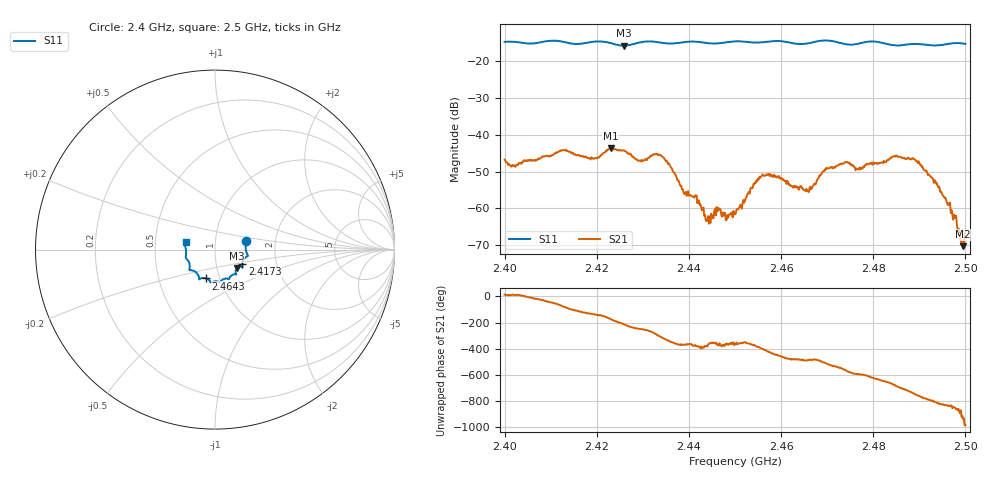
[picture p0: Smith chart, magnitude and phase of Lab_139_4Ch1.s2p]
# Hz S RI R 50
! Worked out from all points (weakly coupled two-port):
!   601 points, 2.4 GHz to 2.5 GHz, reference 50 ohm
!   highest |S21| = -43.60 dB at 2.423 GHz (marker M1); lowest = -70.2 dB at 2.4995 GHz (marker M2)
!   lowest |S11| = -15.9 dB at 2.4258 GHz (marker M3), VSWR 1.38, Z = 62.3 - j13.3 ohm
!   |S11| at or under -10 dB: start of sweep to end of sweep
!   S12 and S22 are empty: the file has one direction only
!   S11 on the Smith chart (normalised r, x): 2.4 GHz: 1.41, +0.14; 2.4173 GHz: 1.34, -0.23; 2.4643 GHz: 0.86, -0.28; 2.5 GHz: 0.72, +0.06
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2.4e9  0.1733 0.0488  0.00444 0.0011  0 0  0 0
2.402333e9  0.1756 0.0387  0.00361 0.000635  0 0  0 0
2.412833e9  0.1755 -0.0403  0.00116 -0.00603  0 0  0 0
2.416667e9  0.1529 -0.0746  -0.00256 -0.00441  0 0  0 0
2.417333e9  0.1521 -0.0821  -0.00274 -0.00412  0 0  0 0
2.423e9  0.1456 -0.0943  -0.00654 -0.000917  0 0  0 0
2.425833e9  0.1218 -0.1037  -0.00519 0.00324  0 0  0 0
2.429167e9  0.1156 -0.1323  -0.00159 0.0041  0 0  0 0
2.433333e9  0.1129 -0.1374  0.0027 0.0047  0 0  0 0
2.441667e9  0.0756 -0.1646  0.0014 -0.000546  0 0  0 0
2.444167e9  0.0621 -0.1611  0.000779 -0.000104  0 0  0 0
2.446e9  0.0474 -0.1646  0.00105 6.61e-05  0 0  0 0
2.45e9  0.0288 -0.1809  0.000823 -0.000102  0 0  0 0
2.455833e9  -0.00532 -0.1775  0.00213 -0.0018  0 0  0 0
2.464333e9  -0.0498 -0.1606  -0.00117 -0.00165  0 0  0 0
2.466667e9  -0.0759 -0.1592  -0.00112 -0.0015  0 0  0 0
2.470333e9  -0.0879 -0.1655  -0.00331 -0.00107  0 0  0 0
2.483333e9  -0.1405 -0.0898  0.0022 0.00397  0 0  0 0
2.490333e9  -0.1627 -0.0389  0.00256 -0.00297  0 0  0 0
2.496167e9  -0.1674 0.0208  -0.000535 -0.000984  0 0  0 0
2.4995e9  -0.1666 0.0397  -0.000243 0.000191  0 0  0 0
2.5e9  -0.164 0.0428  -2.25e-05 0.000468  0 0  0 0
